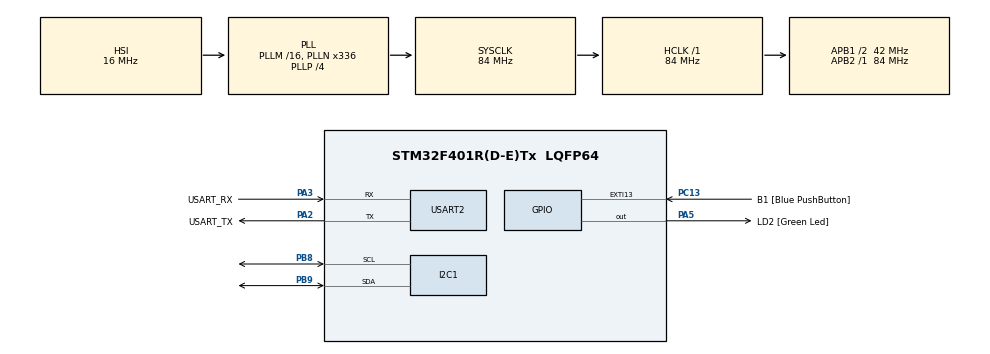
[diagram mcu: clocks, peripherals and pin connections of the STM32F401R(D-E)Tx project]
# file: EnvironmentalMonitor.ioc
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FREERTOS.Tasks01=defaultTask,24,512,StartDefaultTask,Default,NULL,Dynamic,NULL,NULL
Mcu.Family=STM32F4
Mcu.Name=STM32F401R(D-E)Tx
Mcu.Package=LQFP64
NVIC.PriorityGroup=NVIC_PRIORITYGROUP_4
NVIC.TIM2_IRQn=true\:15\:0\:false\:false\:true\:false\:false\:true\:true
NVIC.TimeBase=TIM2_IRQn
NVIC.TimeBaseIP=TIM2
PA13.GPIO_Label=TMS
PA13.Mode=Trace_Asynchronous_SW
PA13.Signal=SYS_JTMS-SWDIO
PA14.GPIO_Label=TCK
PA14.Mode=Trace_Asynchronous_SW
PA14.Signal=SYS_JTCK-SWCLK
PA2.GPIO_Label=USART_TX
PA2.GPIO_Mode=GPIO_MODE_AF_PP
PA2.GPIO_PuPd=GPIO_NOPULL
PA2.GPIO_Speed=GPIO_SPEED_FREQ_LOW
PA2.Mode=Asynchronous
PA2.Signal=USART2_TX
PA3.GPIO_Label=USART_RX
PA3.GPIO_Mode=GPIO_MODE_AF_PP
PA3.GPIO_PuPd=GPIO_NOPULL
PA3.GPIO_Speed=GPIO_SPEED_FREQ_LOW
PA3.Mode=Asynchronous
PA3.Signal=USART2_RX
PA5.GPIO_Label=LD2 [Green Led]
PA5.GPIO_Mode=GPIO_MODE_OUTPUT_PP
PA5.GPIO_PuPd=GPIO_NOPULL
PA5.GPIO_Speed=GPIO_SPEED_FREQ_LOW
PA5.Signal=GPIO_Output
PB3.GPIO_Label=SWO
PB3.Mode=Trace_Asynchronous_SW
PB3.Signal=SYS_JTDO-SWO
PB8.Mode=I2C
PB8.Signal=I2C1_SCL
PB9.Mode=I2C
PB9.Signal=I2C1_SDA
PC13-ANTI_TAMP.GPIO_Label=B1 [Blue PushButton]
PC13-ANTI_TAMP.GPIO_ModeDefaultEXTI=GPIO_MODE_IT_FALLING
PC13-ANTI_TAMP.GPIO_PuPd=GPIO_NOPULL
PC13-ANTI_TAMP.Signal=GPXTI13
PC14-OSC32_IN.Mode=LSE-External-Oscillator
PC14-OSC32_IN.Signal=RCC_OSC32_IN
PC15-OSC32_OUT.Mode=LSE-External-Oscillator
PC15-OSC32_OUT.Signal=RCC_OSC32_OUT
PH0\ -\ OSC_IN.Mode=HSE-External-Clock-Source
PH0\ -\ OSC_IN.Signal=RCC_OSC_IN
PH1\ -\ OSC_OUT.Mode=HSE-External-Clock-Source
PH1\ -\ OSC_OUT.Signal=RCC_OSC_OUT
ProjectManager.HeapSize=0x200
ProjectManager.StackSize=0x400
ProjectManager.TargetToolchain=Makefile
RCC.48MHZClocksFreq_Value=48000000
RCC.AHBFreq_Value=84000000
RCC.APB1CLKDivider=RCC_HCLK_DIV2
RCC.APB1Freq_Value=42000000
RCC.APB1TimFreq_Value=84000000
RCC.APB2Freq_Value=84000000
RCC.APB2TimFreq_Value=84000000
RCC.CortexFreq_Value=84000000
RCC.HCLKFreq_Value=84000000
RCC.HSE_VALUE=8000000
RCC.HSI_VALUE=16000000
RCC.PLLN=336
RCC.PLLP=RCC_PLLP_DIV4
RCC.PLLQ=7
RCC.SYSCLKFreq_VALUE=84000000
RCC.SYSCLKSource=RCC_SYSCLKSOURCE_PLLCLK
RCC.VCOOutputFreq_Value=336000000
USART2.VirtualMode=VM_ASYNC
VP_FREERTOS_VS_CMSIS_V2.Mode=CMSIS_V2
VP_SYS_VS_tim2.Mode=TIM2
board=NUCLEO-F401RE

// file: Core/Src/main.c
/* USER CODE BEGIN Header */

/**
 ******************************************************************************
 * @file           : main.c
 * @brief          : Main program body
 ******************************************************************************
 * @attention
 *
 * Copyright (c) 2026 STMicroelectronics.
 * All rights reserved.
 *
 * This software is licensed under terms that can be found in the LICENSE file
 * in the root directory of this software component.
 * If no LICENSE file comes with this software, it is provided AS-IS.
 *
 ******************************************************************************
 */
/* USER CODE END Header */
#include "main.h"
#include "cmsis_os.h"

/* USER CODE BEGIN Includes */
#include "FreeRTOS.h"
#include "queue.h" /* xQueueOverwrite (no CMSIS-RTOS2 equivalent) */
#include "task.h"  /* taskENTER_CRITICAL */
#include "sht31.h"
#include "ssd1306.h"
#include <ctype.h>
#include <limits.h>
#include <stdio.h>
#include <stdlib.h>
#include <string.h>

/* USER CODE END Includes */

/* USER CODE BEGIN PTD */
/* One measurement, passed by copy from the sensor task to the output task. */
typedef struct {
  uint32_t counter; /* attempt number, including failures */
  SHT31_Status status;
  SHT31_Reading reading;   /* valid only when status == SHT31_OK */
  int i2c_recovery_failed; /* sensor task tried an I2C reset and it failed */
} SensorSample;

/* USER CODE END PTD */

/* USER CODE BEGIN PD */
#define HEARTBEAT_PERIOD_MS 1000U
#define UART_TIMEOUT_MS 100U
#define ALERT_OFF INT32_MAX  /* threshold value meaning "no alert set" */
#define CMD_LINE_MAX 32U     /* longest command line, including the '\0' */
#define RX_QUEUE_LENGTH 64U  /* typed bytes buffered between ISR and task */

/* Watchdog: each task sets its bit at least this often... */
#define WDG_SENSOR_ALIVE (1U << 0)
#define WDG_OUTPUT_ALIVE (1U << 1)
#define WDG_COMMAND_ALIVE (1U << 2)
#define WDG_ALL_TASKS (WDG_SENSOR_ALIVE | WDG_OUTPUT_ALIVE | WDG_COMMAND_ALIVE)
#define WDG_CHECKIN_MS 500U  /* how often idle tasks wake just to check in */
/* ...and the watchdog task allows this long for all bits to appear. Must stay
 * well under the hardware timeout (~5 s nominal, ~3.4 s worst case).
 */
#define WDG_WINDOW_MS 2000U
/* USER CODE END PD */

I2C_HandleTypeDef hi2c1;

UART_HandleTypeDef huart2;

/* Definitions for defaultTask */
osThreadId_t defaultTaskHandle;
const osThreadAttr_t defaultTask_attributes = {
    .name = "defaultTask",
    .stack_size = 512 * 4,
    .priority = (osPriority_t)osPriorityNormal,
};
/* USER CODE BEGIN PV */
/* defaultTask (above, CubeMX-generated) is the sensor task. */

/* Output task: prints and displays samples. Lower priority than the sensor,
 * so a slow OLED or UART can never delay a measurement from starting.
 */
osThreadId_t outputTaskHandle;
const osThreadAttr_t outputTask_attributes = {
    .name = "outputTask",
    .stack_size = 512 * 4,
    .priority = (osPriority_t)osPriorityBelowNormal,
};

/* Mailbox: a queue of length 1 that the sensor overwrites. The output task
 * always gets the newest sample; if it falls behind, old samples are
 * replaced rather than piling up.
 */
osMessageQueueId_t sampleQueue;

/* The SHT31 and the OLED share I2C1. Whoever holds this mutex owns the bus.
 * Priority inheritance: if the low-priority output task holds it while the
 * sensor task waits, the holder is temporarily raised so it finishes fast.
 */
osMutexId_t i2cMutex;
const osMutexAttr_t i2cMutex_attributes = {
    .name = "i2cMutex",
    .attr_bits = osMutexPrioInherit,
};

/* Command task: reads typed lines from UART and acts on them. It sleeps on
 * rxQueue, so it costs nothing until a key is pressed.
 */
osThreadId_t commandTaskHandle;
const osThreadAttr_t commandTask_attributes = {
    .name = "commandTask",
    .stack_size = 512 * 4,
    .priority = (osPriority_t)osPriorityBelowNormal,
};

/* Bytes from the UART receive interrupt to the command task. The ISR must
 * not do real work, so it only drops each byte in here.
 */
osMessageQueueId_t rxQueue;
static uint8_t rx_byte; /* HAL writes each received byte here */

/* Output and command tasks both print, so UART now needs a lock too. */
osMutexId_t uartMutex;
const osMutexAttr_t uartMutex_attributes = {
    .name = "uartMutex",
    .attr_bits = osMutexPrioInherit,
};

/* Set by the command task, read by the output task. A single aligned 32-bit
 * read or write is atomic on Cortex-M4, so no lock is needed.
 */
static volatile int32_t alert_threshold_f100 = ALERT_OFF;

/* Set by the command task while a command is half-typed; the output task
 * skips its UART sample line meanwhile so it doesn't land in the middle of
 * your typing. Measurement and the OLED are unaffected.
 */
static volatile int user_typing = 0;

/* Watchdog task: feeds the hardware watchdog only while every other task
 * keeps checking in. Highest priority, so it is never starved by them.
 */
osThreadId_t watchdogTaskHandle;
const osThreadAttr_t watchdogTask_attributes = {
    .name = "watchdogTask",
    .stack_size = 256 * 4,
    .priority = (osPriority_t)osPriorityAboveNormal,
};

/* One bit per task (WDG_*_ALIVE). Tasks set their bit; the watchdog task
 * waits for all of them and clears them each round.
 */
osEventFlagsId_t wdgFlags;

/* Copy of the newest sample for the "status" command. The mailbox can't be
 * used for this: reading it would take the sample away from the output task.
 * Guarded by a critical section because it is larger than one word.
 */
static SensorSample latest_sample;
static int latest_valid = 0;

/* USER CODE END PV */

void SystemClock_Config(void);
static void MX_GPIO_Init(void);
static void MX_USART2_UART_Init(void);
static void MX_I2C1_Init(void);
void StartDefaultTask(void *argument);

/* USER CODE BEGIN PFP */
#ifdef SENSOR_TEST
void sensor_test_run(void); /* Optional bring-up diagnostics. */
#endif

/* USER CODE END PFP */

/* USER CODE BEGIN 0 */
/* Before the scheduler starts there is only one thread of execution, so the
 * lock is skipped (and the mutex may not exist yet).
 */
static void uart_send(const char *message, size_t length) {
  int lock = (osKernelGetState() == osKernelRunning);
  if (lock) {
    osMutexAcquire(uartMutex, osWaitForever);
  }
  HAL_StatusTypeDef status = HAL_UART_Transmit(
      &huart2, (const uint8_t *)message, (uint16_t)length, UART_TIMEOUT_MS);
  if (lock) {
    osMutexRelease(uartMutex);
  }
  if (status != HAL_OK) {
    Error_Handler();
  }
}

static void uart_send_text(const char *text) { uart_send(text, strlen(text)); }

/* Preserve the peripheral-reset recovery used during bring-up.
 * This cannot fix missing power, loose wires or a device holding SDA low.
 * Returns the result; the caller decides what to report.
 * Caller must hold i2cMutex once the scheduler is running.
 */
static HAL_StatusTypeDef recover_i2c1(void) {
  HAL_StatusTypeDef status = HAL_I2C_DeInit(&hi2c1);
  if (status == HAL_OK) {
    __HAL_RCC_I2C1_FORCE_RESET();
    __HAL_RCC_I2C1_RELEASE_RESET();
    status = HAL_I2C_Init(&hi2c1);
  }
  return status;
}

static void i2c_lock(void) { osMutexAcquire(i2cMutex, osWaitForever); }
static void i2c_unlock(void) { osMutexRelease(i2cMutex); }

static void wdg_checkin(uint32_t task_bit) { osEventFlagsSet(wdgFlags, task_bit); }

static void report_sample(uint32_t counter, SHT31_Status status,
                          const SHT31_Reading *reading, int alert) {
  char message[96];
  int length;

  if (status == SHT31_OK) {
    /* The sign is separate so -50 hundredths prints as -0.50, not 0.50. */
    long temperature = (long)reading->temperature_f100;
    long magnitude = labs(temperature);
    long humidity = (long)reading->humidity_rh100;

    length = snprintf(message, sizeof(message),
                      "Sample %lu: T=%s%ld.%02ld F RH=%ld.%02ld %% CRC=OK%s\r\n",
                      (unsigned long)counter, temperature < 0 ? "-" : "",
                      magnitude / 100L, magnitude % 100L, humidity / 100L,
                      humidity % 100L, alert ? " ALERT" : "");
  } else {
    length = snprintf(message, sizeof(message), "Sample %lu: SHT31 %s\r\n",
                      (unsigned long)counter, SHT31_StatusText(status));
  }

  if (length > 0 && (size_t)length < sizeof(message)) {
    uart_send(message, (size_t)length);
  }
}

/* Set once the OLED has answered and initialised; cleared if an update fails,
 * so a missing display never slows down or stops the sensor loop.
 */
static int oled_ready = 0;

/* Draw the latest sample on the OLED. Drawing only fills a RAM buffer;
 * SSD1306_Update() is what sends it to the panel over I2C.
 */
static void oled_show_sample(uint32_t counter, SHT31_Status status,
                             const SHT31_Reading *reading, int32_t threshold,
                             int alert) {
  char line[24];

  SSD1306_Clear();
  SSD1306_DrawText(0, 0, "SHT31 MONITOR");

  if (status == SHT31_OK) {
    long temperature = (long)reading->temperature_f100;
    long magnitude = labs(temperature);
    long humidity = (long)reading->humidity_rh100;

    snprintf(line, sizeof(line), "TEMP: %s%ld.%02ld F",
             temperature < 0 ? "-" : "", magnitude / 100L, magnitude % 100L);
    SSD1306_DrawText(0, 2, line);
    snprintf(line, sizeof(line), "HUMID: %ld.%02ld %%", humidity / 100L,
             humidity % 100L);
    SSD1306_DrawText(0, 3, line);
  } else {
    SSD1306_DrawText(0, 2, "SENSOR ERROR:");
    SSD1306_DrawText(0, 3, SHT31_StatusText(status));
  }

  snprintf(line, sizeof(line), "SAMPLE: %lu", (unsigned long)counter);
  SSD1306_DrawText(0, 5, line);

  if (threshold != ALERT_OFF) {
    snprintf(line, sizeof(line), alert ? "ALERT! > %ld F" : "LIMIT: %ld F",
             (long)(threshold / 100));
    SSD1306_DrawText(0, 7, line);
  }

  /* Drawing above only touched RAM; this is the only part that uses I2C. */
  i2c_lock();
  HAL_StatusTypeDef update_status = SSD1306_Update(&hi2c1);
  i2c_unlock();

  if (update_status != HAL_OK) {
    oled_ready = 0;
    static const char message[] = "OLED update failed; will retry\r\n";
    uart_send(message, sizeof(message) - 1U);
  }
}

/* Called from the loop while the OLED is marked not ready: reset the I2C
 * peripheral and run the init sequence again. A display that is still
 * missing costs one short timeout per attempt, not a stalled loop.
 */
#define OLED_RETRY_SAMPLES 5U

static void oled_try_init(void) {
  i2c_lock();
  HAL_StatusTypeDef status = recover_i2c1();
  if (status == HAL_OK) {
    status = SSD1306_Init(&hi2c1);
  }
  i2c_unlock();

  if (status == HAL_OK) {
    oled_ready = 1;
    static const char message[] = "OLED re-initialised\r\n";
    uart_send(message, sizeof(message) - 1U);
  }
}

/* Output task: sleeps until a sample arrives, then prints and draws it.
 * It is the only task that uses the OLED framebuffer, so that needs no lock.
 * I2C and UART are shared, so those go through their mutexes.
 */
static void StartOutputTask(void *argument) {
  (void)argument;
  SensorSample sample;

  for (;;) {
    /* Checking in here, with a timeout on the wait, means a stuck sensor
     * task shows up as "sensor" in the watchdog report, not as both tasks.
     */
    wdg_checkin(WDG_OUTPUT_ALIVE);
    if (osMessageQueueGet(sampleQueue, &sample, NULL, WDG_WINDOW_MS / 2U) !=
        osOK) {
      continue;
    }

    /* Read the threshold once so the UART line and the OLED agree. */
    int32_t threshold = alert_threshold_f100;
    int alert = (sample.status == SHT31_OK && threshold != ALERT_OFF &&
                 sample.reading.temperature_f100 > threshold);

    if (!user_typing) {
      report_sample(sample.counter, sample.status, &sample.reading, alert);
    }
    if (sample.i2c_recovery_failed) {
      static const char message[] = "I2C1 recovery failed; retrying\r\n";
      uart_send(message, sizeof(message) - 1U);
    }

    if (oled_ready) {
      oled_show_sample(sample.counter, sample.status, &sample.reading,
                       threshold, alert);
    } else if (sample.counter % OLED_RETRY_SAMPLES == 0U) {
      oled_try_init();
    }
  }
}

/* ---- Command task --------------------------------------------------------*/

/* Runs in interrupt context, once per received byte. Keep it tiny: hand the
 * byte to the command task and re-arm reception for the next one.
 */
void HAL_UART_RxCpltCallback(UART_HandleTypeDef *huart) {
  if (huart->Instance == USART2) {
    osMessageQueuePut(rxQueue, &rx_byte, 0U, 0U); /* drops the byte if full */
    HAL_UART_Receive_IT(&huart2, &rx_byte, 1U);
  }
}

/* A receive error (e.g. overrun) stops HAL's reception; restart it. */
void HAL_UART_ErrorCallback(UART_HandleTypeDef *huart) {
  if (huart->Instance == USART2) {
    HAL_UART_Receive_IT(&huart2, &rx_byte, 1U);
  }
}

static void print_status(void) {
  SensorSample sample;
  int valid;

  /* Copy under a critical section so the sensor task can't update the
   * struct halfway through our read.
   */
  taskENTER_CRITICAL();
  sample = latest_sample;
  valid = latest_valid;
  taskEXIT_CRITICAL();

  char message[96];
  if (!valid) {
    uart_send_text("No sample yet\r\n");
  } else if (sample.status != SHT31_OK) {
    snprintf(message, sizeof(message), "Last sample %lu: SHT31 %s\r\n",
             (unsigned long)sample.counter, SHT31_StatusText(sample.status));
    uart_send_text(message);
  } else {
    long temperature = (long)sample.reading.temperature_f100;
    long magnitude = labs(temperature);
    long humidity = (long)sample.reading.humidity_rh100;
    snprintf(message, sizeof(message),
             "Last sample %lu: T=%s%ld.%02ld F RH=%ld.%02ld %%\r\n",
             (unsigned long)sample.counter, temperature < 0 ? "-" : "",
             magnitude / 100L, magnitude % 100L, humidity / 100L,
             humidity % 100L);
    uart_send_text(message);
  }

  int32_t threshold = alert_threshold_f100;
  if (threshold == ALERT_OFF) {
    snprintf(message, sizeof(message), "Alert: off   OLED: %s\r\n",
             oled_ready ? "ok" : "not responding");
  } else {
    snprintf(message, sizeof(message), "Alert: above %ld F   OLED: %s\r\n",
             (long)(threshold / 100), oled_ready ? "ok" : "not responding");
  }
  uart_send_text(message);
}

static void handle_command(char *line) {
  for (char *p = line; *p != '\0'; p++) {
    *p = (char)tolower((unsigned char)*p);
  }

  if (strcmp(line, "help") == 0) {
    uart_send_text("Commands:\r\n"
                   "  status       latest reading and settings\r\n"
                   "  alert <F>    warn when temperature goes above <F>\r\n"
                   "  alert off    disable the warning\r\n"
                   "  hang         test: freeze this task; watchdog resets\r\n");
  } else if (strcmp(line, "status") == 0) {
    print_status();
  } else if (strcmp(line, "hang") == 0) {
    /* Watchdog test: this task stops checking in, as if it were deadlocked. */
    uart_send_text("Simulating a stuck command task...\r\n");
    user_typing = 0; /* let sample lines keep printing meanwhile */
    for (;;) {
      osDelay(1000U);
    }
  } else if (strcmp(line, "alert off") == 0) {
    alert_threshold_f100 = ALERT_OFF;
    uart_send_text("Alert off\r\n");
  } else if (strncmp(line, "alert ", 6) == 0) {
    char *end;
    long degrees = strtol(line + 6, &end, 10);
    if (end == line + 6 || *end != '\0' || degrees < -40 || degrees > 200) {
      uart_send_text("Usage: alert <whole degrees F, -40..200> or alert off\r\n");
    } else {
      alert_threshold_f100 = (int32_t)(degrees * 100);
      char message[48];
      snprintf(message, sizeof(message), "Alert set: above %ld F\r\n", degrees);
      uart_send_text(message);
    }
  } else {
    uart_send_text("Unknown command; type 'help'\r\n");
  }
}

/* Builds a line from typed bytes, echoing them so you can see what you type
 * (the serial terminal does not echo locally). Enter runs the command.
 */
static void StartCommandTask(void *argument) {
  (void)argument;
  char line[CMD_LINE_MAX];
  size_t length = 0;
  uint8_t ch;

  HAL_UART_Receive_IT(&huart2, &rx_byte, 1U); /* start listening */
  uart_send_text("Type 'help' and press Enter for commands\r\n");

  for (;;) {
    /* Wake at least every WDG_CHECKIN_MS even with no typing, to check in. */
    wdg_checkin(WDG_COMMAND_ALIVE);
    if (osMessageQueueGet(rxQueue, &ch, NULL, WDG_CHECKIN_MS) != osOK) {
      continue;
    }

    if (ch == '\r' || ch == '\n') {
      if (length > 0) {
        uart_send_text("\r\n");
        line[length] = '\0';
        handle_command(line);
        length = 0;
        user_typing = 0; /* command done: sample lines resume */
      }
    } else if (ch == 0x08 || ch == 0x7F) { /* backspace / delete */
      if (length > 0) {
        length--;
        uart_send_text("\b \b");
        if (length == 0) {
          user_typing = 0; /* line erased: nothing left to protect */
        }
      }
    } else if (ch >= 0x20 && ch <= 0x7E && length < CMD_LINE_MAX - 1U) {
      user_typing = 1; /* pause sample lines before echoing the first key */
      line[length++] = (char)ch;
      uart_send((const char *)&ch, 1U);
    }
  }
}

/* ---- Watchdog ------------------------------------------------------------*/

/* The independent watchdog (IWDG) is a hardware down-counter on its own
 * ~32 kHz clock (LSI). If it reaches zero, the chip resets. Writing 0xAAAA
 * to KR reloads it ("feeding"). Once started it cannot be stopped.
 * Driven directly through its registers, since the HAL IWDG module is not
 * enabled in this CubeMX project.
 */
static void iwdg_start(void) {
  DBGMCU->APB1FZ |= DBGMCU_APB1_FZ_DBG_IWDG_STOP; /* pause it at breakpoints */
  IWDG->KR = 0xCCCCU; /* start the watchdog (also starts LSI) */
  IWDG->KR = 0x5555U; /* unlock PR and RLR for writing */
  IWDG->PR = 4U;      /* LSI / 64: one count every ~2 ms */
  IWDG->RLR = 2500U;  /* ~5 s at 32 kHz; LSI tolerance gives ~3.4-9.4 s */
  while (IWDG->SR != 0U) {
    /* wait until the new prescaler/reload values are taken up */
  }
  IWDG->KR = 0xAAAAU; /* load the counter with RLR */
}

static void iwdg_feed(void) { IWDG->KR = 0xAAAAU; }

static void StartWatchdogTask(void *argument) {
  (void)argument;
  iwdg_start();

  for (;;) {
    /* Wait for every task's bit. On success the bits are cleared, so each
     * round needs a fresh check-in from every task.
     */
    uint32_t result = osEventFlagsWait(wdgFlags, WDG_ALL_TASKS, osFlagsWaitAll,
                                       WDG_WINDOW_MS);
    if ((result & osFlagsError) == 0U) {
      iwdg_feed();
      continue;
    }

    /* Someone missed the window: say who, then stop feeding. The hardware
     * resets the board within a few seconds. (If the stuck task holds the
     * UART lock, the message may not appear, but the reset still happens.)
     */
    uint32_t seen = osEventFlagsGet(wdgFlags);
    char message[96] = "WATCHDOG: no check-in from";
    if ((seen & WDG_SENSOR_ALIVE) == 0U) strcat(message, " sensor");
    if ((seen & WDG_OUTPUT_ALIVE) == 0U) strcat(message, " output");
    if ((seen & WDG_COMMAND_ALIVE) == 0U) strcat(message, " command");
    strcat(message, "; resetting\r\n");
    uart_send_text(message);
    for (;;) {
      osDelay(1000U);
    }
  }
}

/* USER CODE END 0 */

int main(void) {

  /* MCU Configuration--------------------------------------------------------*/

  /* Reset of all peripherals, Initializes the Flash interface and the Systick.
   */
  HAL_Init();

  /* Configure the system clock */
  SystemClock_Config();

  /* Initialize all configured peripherals */
  MX_GPIO_Init();
  MX_USART2_UART_Init();
  MX_I2C1_Init();
  /* USER CODE BEGIN 2 */
#ifdef SENSOR_TEST
  sensor_test_run(); // never returns; see sensor_test.c
#endif

  /* Report why we booted, so a watchdog reset is visible. */
  if (__HAL_RCC_GET_FLAG(RCC_FLAG_IWDGRST)) {
    uart_send_text("\r\n*** Reset by watchdog: a task stopped responding ***\r\n");
  }
  __HAL_RCC_CLEAR_RESET_FLAGS();

  HAL_Delay(2U); /* Allow sensor power-up before the first command. */
  if (recover_i2c1() != HAL_OK) {
    const char message[] = "I2C1 recovery failed at startup\r\n";
    uart_send(message, sizeof(message) - 1U);
  }

  // LCD INIT
  HAL_Delay(100U);

  HAL_StatusTypeDef oled_status =
      HAL_I2C_IsDeviceReady(&hi2c1, (0x3CU << 1), 2U, 100U);

  if (oled_status == HAL_OK) {
    const char message[] = "OLED ACK at 0x3C\r\n";
    uart_send(message, sizeof(message) - 1U);
  } else {
    const char message[] = "OLED no ACK at 0x3C\r\n";
    uart_send(message, sizeof(message) - 1U);
  }

  if (oled_status == HAL_OK && SSD1306_Init(&hi2c1) == HAL_OK) {
    oled_ready = 1;
    const char message[] = "OLED init OK\r\n";
    uart_send(message, sizeof(message) - 1U);
  } else {
    const char message[] = "OLED init failed\r\n";
    uart_send(message, sizeof(message) - 1U);
  }
  /* USER CODE END 2 */

  /* Init scheduler */
  osKernelInitialize();

  /* USER CODE BEGIN RTOS_MUTEX */
  i2cMutex = osMutexNew(&i2cMutex_attributes);
  uartMutex = osMutexNew(&uartMutex_attributes);
  if (i2cMutex == NULL || uartMutex == NULL) {
    Error_Handler();
  }
  /* USER CODE END RTOS_MUTEX */

  /* USER CODE BEGIN RTOS_QUEUES */
  sampleQueue = osMessageQueueNew(1U, sizeof(SensorSample), NULL);
  rxQueue = osMessageQueueNew(RX_QUEUE_LENGTH, sizeof(uint8_t), NULL);
  wdgFlags = osEventFlagsNew(NULL);
  if (sampleQueue == NULL || rxQueue == NULL || wdgFlags == NULL) {
    Error_Handler();
  }
  /* USER CODE END RTOS_QUEUES */

  /* Create the thread(s) */
  /* creation of defaultTask */
  defaultTaskHandle = osThreadNew(StartDefaultTask, NULL, &defaultTask_attributes);

  /* USER CODE BEGIN RTOS_THREADS */
  outputTaskHandle = osThreadNew(StartOutputTask, NULL, &outputTask_attributes);
  commandTaskHandle =
      osThreadNew(StartCommandTask, NULL, &commandTask_attributes);
  watchdogTaskHandle =
      osThreadNew(StartWatchdogTask, NULL, &watchdogTask_attributes);
  if (outputTaskHandle == NULL || commandTaskHandle == NULL ||
      watchdogTaskHandle == NULL) {
    Error_Handler();
  }
  /* USER CODE END RTOS_THREADS */

  /* Start scheduler */
  osKernelStart();

  /* We should never get here as control is now taken by the scheduler */

  /* Infinite loop */
  while (1) {

    /* USER CODE BEGIN 3 */
    /* Never reached: osKernelStart() hands the CPU to the scheduler.
     * The application loop lives in StartDefaultTask below.
     */
  }
  /* USER CODE END 3 */
}

void SystemClock_Config(void) {
  RCC_OscInitTypeDef RCC_OscInitStruct = {0};
  RCC_ClkInitTypeDef RCC_ClkInitStruct = {0};

  /** Configure the main internal regulator output voltage
   */
  __HAL_RCC_PWR_CLK_ENABLE();
  __HAL_PWR_VOLTAGESCALING_CONFIG(PWR_REGULATOR_VOLTAGE_SCALE2);

  /** Initializes the RCC Oscillators according to the specified parameters
   * in the RCC_OscInitTypeDef structure.
   */
  RCC_OscInitStruct.OscillatorType = RCC_OSCILLATORTYPE_HSI;
  RCC_OscInitStruct.HSIState = RCC_HSI_ON;
  RCC_OscInitStruct.HSICalibrationValue = RCC_HSICALIBRATION_DEFAULT;
  RCC_OscInitStruct.PLL.PLLState = RCC_PLL_ON;
  RCC_OscInitStruct.PLL.PLLSource = RCC_PLLSOURCE_HSI;
  RCC_OscInitStruct.PLL.PLLM = 16;
  RCC_OscInitStruct.PLL.PLLN = 336;
  RCC_OscInitStruct.PLL.PLLP = RCC_PLLP_DIV4;
  RCC_OscInitStruct.PLL.PLLQ = 7;
  if (HAL_RCC_OscConfig(&RCC_OscInitStruct) != HAL_OK) {
    Error_Handler();
  }

  /** Initializes the CPU, AHB and APB buses clocks
   */
  RCC_ClkInitStruct.ClockType = RCC_CLOCKTYPE_HCLK | RCC_CLOCKTYPE_SYSCLK |
                                RCC_CLOCKTYPE_PCLK1 | RCC_CLOCKTYPE_PCLK2;
  RCC_ClkInitStruct.SYSCLKSource = RCC_SYSCLKSOURCE_PLLCLK;
  RCC_ClkInitStruct.AHBCLKDivider = RCC_SYSCLK_DIV1;
  RCC_ClkInitStruct.APB1CLKDivider = RCC_HCLK_DIV2;
  RCC_ClkInitStruct.APB2CLKDivider = RCC_HCLK_DIV1;

  if (HAL_RCC_ClockConfig(&RCC_ClkInitStruct, FLASH_LATENCY_2) != HAL_OK) {
    Error_Handler();
  }
}

static void MX_I2C1_Init(void) {

  hi2c1.Instance = I2C1;
  hi2c1.Init.ClockSpeed = 100000;
  hi2c1.Init.DutyCycle = I2C_DUTYCYCLE_2;
  hi2c1.Init.OwnAddress1 = 0;
  hi2c1.Init.AddressingMode = I2C_ADDRESSINGMODE_7BIT;
  hi2c1.Init.DualAddressMode = I2C_DUALADDRESS_DISABLE;
  hi2c1.Init.OwnAddress2 = 0;
  hi2c1.Init.GeneralCallMode = I2C_GENERALCALL_DISABLE;
  hi2c1.Init.NoStretchMode = I2C_NOSTRETCH_DISABLE;
  if (HAL_I2C_Init(&hi2c1) != HAL_OK) {
    Error_Handler();
  }
}

static void MX_USART2_UART_Init(void) {

  huart2.Instance = USART2;
  huart2.Init.BaudRate = 115200;
  huart2.Init.WordLength = UART_WORDLENGTH_8B;
  huart2.Init.StopBits = UART_STOPBITS_1;
  huart2.Init.Parity = UART_PARITY_NONE;
  huart2.Init.Mode = UART_MODE_TX_RX;
  huart2.Init.HwFlowCtl = UART_HWCONTROL_NONE;
  huart2.Init.OverSampling = UART_OVERSAMPLING_16;
  if (HAL_UART_Init(&huart2) != HAL_OK) {
    Error_Handler();
  }
}

static void MX_GPIO_Init(void) {
  GPIO_InitTypeDef GPIO_InitStruct = {0};

  /* GPIO Ports Clock Enable */
  __HAL_RCC_GPIOC_CLK_ENABLE();
  __HAL_RCC_GPIOH_CLK_ENABLE();
  __HAL_RCC_GPIOA_CLK_ENABLE();
  __HAL_RCC_GPIOB_CLK_ENABLE();

  /*Configure GPIO pin Output Level */
  HAL_GPIO_WritePin(LD2_GPIO_Port, LD2_Pin, GPIO_PIN_RESET);

  /*Configure GPIO pin : B1_Pin */
  GPIO_InitStruct.Pin = B1_Pin;
  GPIO_InitStruct.Mode = GPIO_MODE_IT_FALLING;
  GPIO_InitStruct.Pull = GPIO_NOPULL;
  HAL_GPIO_Init(B1_GPIO_Port, &GPIO_InitStruct);

  /*Configure GPIO pin : LD2_Pin */
  GPIO_InitStruct.Pin = LD2_Pin;
  GPIO_InitStruct.Mode = GPIO_MODE_OUTPUT_PP;
  GPIO_InitStruct.Pull = GPIO_NOPULL;
  GPIO_InitStruct.Speed = GPIO_SPEED_FREQ_LOW;
  HAL_GPIO_Init(LD2_GPIO_Port, &GPIO_InitStruct);

}

void StartDefaultTask(void *argument) {
  /* USER CODE BEGIN 5 */
  /* Sensor task: measure on a fixed schedule and publish each result.
   * It never prints or draws; the output task does that from the queue.
   */
  (void)argument;
  uint32_t counter = 0;
  uint32_t next_wake = osKernelGetTickCount();

  for (;;) {
    HAL_GPIO_TogglePin(LD2_GPIO_Port, LD2_Pin);

    SensorSample sample = {0};
    sample.counter = counter;

    i2c_lock();
    sample.status = SHT31_Read(&hi2c1, &sample.reading);
    if (sample.status == SHT31_TX_ERROR || sample.status == SHT31_RX_ERROR) {
      sample.i2c_recovery_failed = (recover_i2c1() != HAL_OK);
    }
    i2c_unlock();

    /* Overwrite, never block: the sensor must not wait on a slow output. */
    xQueueOverwrite((QueueHandle_t)sampleQueue, &sample);

    /* Keep a copy for the "status" command. */
    taskENTER_CRITICAL();
    latest_sample = sample;
    latest_valid = 1;
    taskEXIT_CRITICAL();

    counter++; /* Counts attempts, including failed measurements. */
    wdg_checkin(WDG_SENSOR_ALIVE);

    /* osDelayUntil wakes at fixed 1 s marks measured from the previous wake,
     * so time spent reading the sensor does not stretch the period.
     */
    next_wake += HEARTBEAT_PERIOD_MS;
    osDelayUntil(next_wake);
  }
  /* USER CODE END 5 */
}

void HAL_TIM_PeriodElapsedCallback(TIM_HandleTypeDef *htim) {
  if (htim->Instance == TIM2) {
    HAL_IncTick();
  }
}

void Error_Handler(void) {
  __disable_irq();
  while (1) {
  }
}
#ifdef USE_FULL_ASSERT
/**
 * @brief  Reports the name of the source file and the source line number
 *         where the assert_param error has occurred.
 * @param  file: pointer to the source file name
 * @param  line: assert_param error line source number
 * @retval None
 */
void assert_failed(uint8_t *file, uint32_t line) {
  /* USER CODE BEGIN 6 */
  /* User can add his own implementation to report the file name and line
     number, ex: printf("Wrong parameters value: file %s on line %d\r\n", file,
     line) */
  /* USER CODE END 6 */
}
#endif /* USE_FULL_ASSERT */
